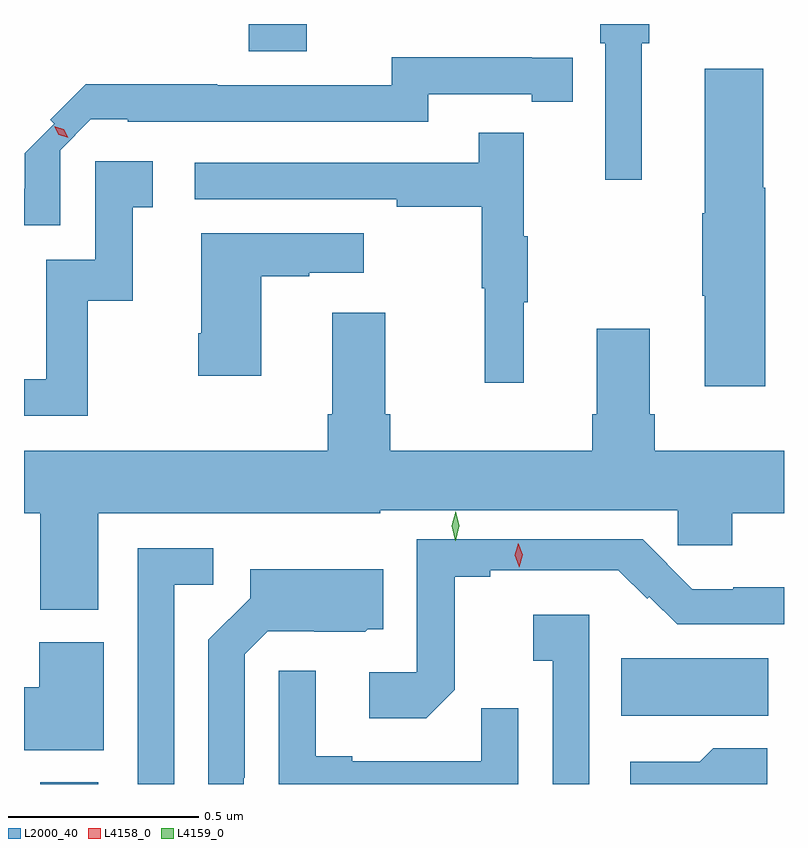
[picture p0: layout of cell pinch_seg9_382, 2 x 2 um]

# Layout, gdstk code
import gdstk
lib = gdstk.Library(unit=1e-6, precision=1e-09)
def R(c, l, rs):  # rectangles x0, y0, x1, y1
    for r in rs: c.add(gdstk.rectangle(r[:2], r[2:], *l))
def P(c, l, *ps):  # polygons
    for p in ps: c.add(gdstk.Polygon(p, *l))
L2000_40 = (2000, 40)
L4158_0 = (4158, 0)
L4159_0 = (4159, 0)

pinch_seg9_382 = lib.new_cell('pinch_seg9_382')
R(pinch_seg9_382, L2000_40, [(390.473,1213.023,390.625,1213.027), (392.002,1213.202,392.389,1213.354), (391.022,1214.951,391.174,1215.023)])
P(pinch_seg9_382, L2000_40, [(392.056,1214.972),(392.075,1214.972),(392.075,1215.023),(391.946,1215.023),(391.946,1214.972),(391.959,1214.972),(391.959,1214.613),(392.056,1214.613)],
  [(390.525,1214.691),(390.606,1214.772),(390.703,1214.772),(390.703,1214.766),(391.494,1214.766),(391.494,1214.838),(391.766,1214.838),(391.766,1214.818),(391.874,1214.818),(391.874,1214.934),(391.766,1214.934),(391.766,1214.935),(391.398,1214.935),(391.398,1214.862),(390.938,1214.862),(390.938,1214.864),(390.592,1214.864),(390.499,1214.771),(390.51,1214.761),(390.432,1214.683),(390.432,1214.589),(390.43,1214.589),(390.43,1214.493),(390.525,1214.493)],
  [(392.381,1214.592),(392.376,1214.592),(392.376,1214.905),(392.222,1214.905),(392.222,1214.525),(392.215,1214.525),(392.215,1214.308),(392.222,1214.308),(392.222,1214.07),(392.381,1214.07)],
  [(391.745,1214.291),(391.756,1214.291),(391.756,1214.465),(391.745,1214.465),(391.745,1214.737),(391.627,1214.737),(391.627,1214.658),(390.879,1214.658),(390.879,1214.562),(391.411,1214.562),(391.411,1214.542),(391.635,1214.542),(391.635,1214.328),(391.642,1214.328),(391.642,1214.079),(391.745,1214.079)],
  [(390.598,1214.295),(390.716,1214.295),(390.716,1214.541),(390.769,1214.541),(390.769,1214.662),(390.618,1214.662),(390.618,1214.403),(390.489,1214.403),(390.489,1214.088),(390.43,1214.088),(390.43,1213.992),(390.598,1213.992)],
  [(391.054,1214.359),(391.181,1214.359),(391.181,1214.369),(391.324,1214.369),(391.324,1214.473),(390.896,1214.473),(390.896,1214.209),(390.889,1214.209),(390.889,1214.097),(391.054,1214.097)],
  [(390.625,1213.736),(391.367,1213.736),(391.367,1213.743),(392.151,1213.743),(392.151,1213.651),(392.294,1213.651),(392.294,1213.736),(392.43,1213.736),(392.43,1213.9),(392.09,1213.9),(392.09,1213.996),(392.077,1213.996),(392.077,1214.221),(391.937,1214.221),(391.937,1213.996),(391.925,1213.996),(391.925,1213.9),(391.394,1213.9),(391.394,1213.996),(391.381,1213.996),(391.381,1214.263),(391.241,1214.263),(391.241,1213.996),(391.229,1213.996),(391.229,1213.9),(390.43,1213.9),(390.43,1213.736),(390.473,1213.736),(390.473,1213.481),(390.625,1213.481)],
  [(391.563,1213.271),(391.563,1213.568),(391.657,1213.568),(391.657,1213.585),(391.994,1213.585),(392.07,1213.51),(392.076,1213.516),(392.149,1213.443),(392.43,1213.443),(392.43,1213.541),(392.297,1213.541),(392.297,1213.536),(392.189,1213.536),(392.058,1213.667),(391.464,1213.667),(391.464,1213.317),(391.338,1213.317),(391.338,1213.196),(391.488,1213.196)],
  [(390.825,1213.548),(390.928,1213.548),(390.928,1213.644),(390.729,1213.644),(390.729,1213.023),(390.825,1213.023)],
  [(391.008,1213.039),(391.011,1213.039),(391.011,1213.365),(391.071,1213.425),(391.194,1213.425),(391.194,1213.424),(391.328,1213.424),(391.334,1213.43),(391.375,1213.43),(391.375,1213.588),(391.025,1213.588),(391.025,1213.512),(390.915,1213.402),(390.915,1213.023),(391.008,1213.023)],
  [(391.917,1213.468),(391.77,1213.468),(391.77,1213.347),(391.821,1213.347),(391.821,1213.023),(391.917,1213.023)],
  [(390.64,1213.396),(390.47,1213.396),(390.47,1213.278),(390.43,1213.278),(390.43,1213.112),(390.64,1213.112)],
  [(391.731,1213.222),(391.633,1213.222),(391.633,1213.083),(391.294,1213.083),(391.294,1213.096),(391.198,1213.096),(391.198,1213.321),(391.101,1213.321),(391.101,1213.023),(391.731,1213.023)],
  [(392.386,1213.117),(392.244,1213.117),(392.208,1213.081),(392.025,1213.081),(392.025,1213.023),(392.386,1213.023)])
P(pinch_seg9_382, L4158_0, [(391.733,1213.594),(391.733,1213.594),(391.722,1213.625),(391.73,1213.657),(391.73,1213.657),(391.731,1213.657),(391.742,1213.626),(391.733,1213.594)],
  [(390.547,1214.724),(390.522,1214.731),(390.51,1214.754),(390.51,1214.754),(390.51,1214.754),(390.535,1214.746),(390.547,1214.724),(390.547,1214.724)])
P(pinch_seg9_382, L4159_0, [(391.565,1213.663),(391.565,1213.663),(391.556,1213.702),(391.566,1213.741),(391.566,1213.741),(391.566,1213.741),(391.576,1213.702),(391.566,1213.663)])

lib.write_gds('pinch_seg9_382.gds')
